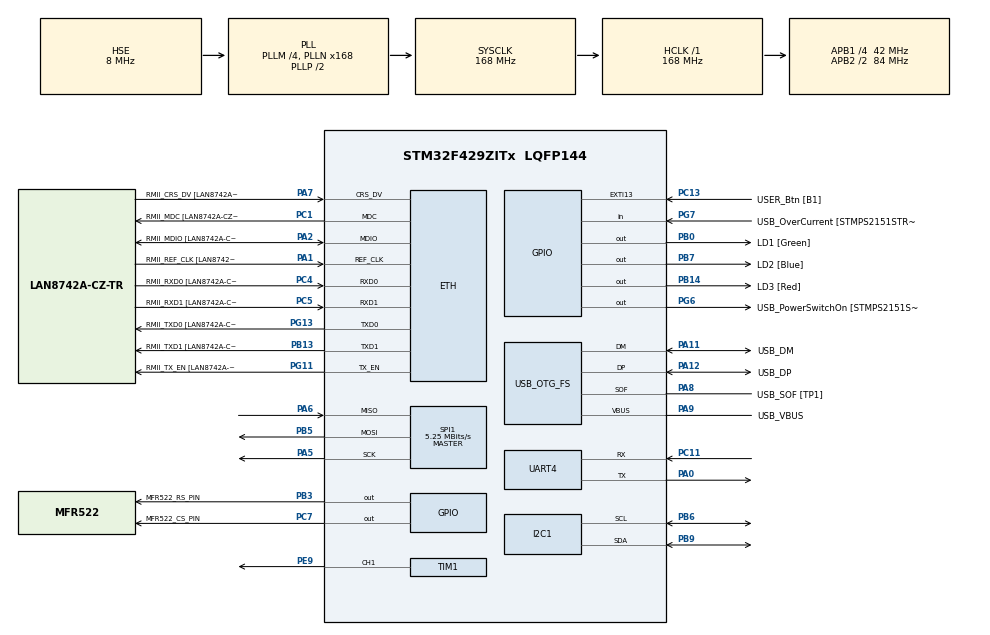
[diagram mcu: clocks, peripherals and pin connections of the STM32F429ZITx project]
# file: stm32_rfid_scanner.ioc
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Dma.Request0=TIM1_CH1
Dma.Request1=UART4_TX
Dma.Request2=UART4_RX
Dma.TIM1_CH1.0.Direction=DMA_MEMORY_TO_PERIPH
Dma.TIM1_CH1.0.FIFOMode=DMA_FIFOMODE_DISABLE
Dma.TIM1_CH1.0.Instance=DMA2_Stream1
Dma.TIM1_CH1.0.MemDataAlignment=DMA_MDATAALIGN_HALFWORD
Dma.TIM1_CH1.0.MemInc=DMA_MINC_ENABLE
Dma.TIM1_CH1.0.Mode=DMA_CIRCULAR
Dma.TIM1_CH1.0.PeriphDataAlignment=DMA_PDATAALIGN_HALFWORD
Dma.TIM1_CH1.0.PeriphInc=DMA_PINC_DISABLE
Dma.TIM1_CH1.0.Priority=DMA_PRIORITY_LOW
Dma.UART4_RX.2.Direction=DMA_PERIPH_TO_MEMORY
Dma.UART4_RX.2.FIFOMode=DMA_FIFOMODE_DISABLE
Dma.UART4_RX.2.Instance=DMA1_Stream2
Dma.UART4_RX.2.MemDataAlignment=DMA_MDATAALIGN_BYTE
Dma.UART4_RX.2.MemInc=DMA_MINC_ENABLE
Dma.UART4_RX.2.Mode=DMA_CIRCULAR
Dma.UART4_RX.2.PeriphDataAlignment=DMA_PDATAALIGN_BYTE
Dma.UART4_RX.2.PeriphInc=DMA_PINC_DISABLE
Dma.UART4_RX.2.Priority=DMA_PRIORITY_LOW
Dma.UART4_TX.1.Direction=DMA_MEMORY_TO_PERIPH
Dma.UART4_TX.1.FIFOMode=DMA_FIFOMODE_DISABLE
Dma.UART4_TX.1.Instance=DMA1_Stream4
Dma.UART4_TX.1.MemDataAlignment=DMA_MDATAALIGN_BYTE
Dma.UART4_TX.1.MemInc=DMA_MINC_ENABLE
Dma.UART4_TX.1.Mode=DMA_NORMAL
Dma.UART4_TX.1.PeriphDataAlignment=DMA_PDATAALIGN_BYTE
Dma.UART4_TX.1.PeriphInc=DMA_PINC_DISABLE
Dma.UART4_TX.1.Priority=DMA_PRIORITY_LOW
ETH.MediaInterface=HAL_ETH_RMII_MODE
ETH.PHY_Name=LAN8742A_PHY_ADDRESS
ETH.PHY_Value=0
ETH.PhyAddress=0
ETH.RxMode=ETH_RXINTERRUPT_MODE
FREERTOS.Tasks01=defaultTask,24,128,StartDefaultTask,Default,NULL,Dynamic,NULL,NULL
FREERTOS.configUSE_NEWLIB_REENTRANT=1
I2C1.I2C_Mode=I2C_Fast
LWIP.BSP.number=1
LWIP.Version=v2.1.2_Cube
LWIP0.BSP.STBoard=false
LWIP0.BSP.api=BSP_COMPONENT_DRIVER
LWIP0.BSP.component=LAN8742
LWIP0.BSP.instance=LAN8742
LWIP0.BSP.name=Driver_PHY
LWIP0.BSP.semaphore=S_LAN8742
LWIP0.BSP.solution=LAN8742
Mcu.Family=STM32F4
Mcu.Name=STM32F429ZITx
Mcu.Package=LQFP144
NVIC.DMA1_Stream2_IRQn=true\:5\:0\:false\:false\:true\:true\:false\:true\:true
NVIC.DMA1_Stream4_IRQn=true\:5\:0\:false\:false\:true\:true\:false\:true\:true
NVIC.DMA2_Stream1_IRQn=true\:5\:0\:false\:false\:true\:true\:false\:true\:true
NVIC.ETH_IRQn=true\:5\:0\:false\:false\:true\:true\:false\:true\:true
NVIC.EXTI15_10_IRQn=true\:5\:0\:false\:false\:true\:true\:true\:true\:true
NVIC.PriorityGroup=NVIC_PRIORITYGROUP_4
NVIC.TIM2_IRQn=true\:15\:0\:false\:false\:true\:false\:false\:true\:true
NVIC.TIM6_DAC_IRQn=true\:5\:0\:false\:false\:true\:true\:true\:true\:true
NVIC.TimeBase=TIM2_IRQn
NVIC.TimeBaseIP=TIM2
NVIC.UART4_IRQn=true\:5\:0\:false\:false\:true\:true\:true\:true\:true
PA0/WKUP.Mode=Asynchronous
PA0/WKUP.Signal=UART4_TX
PA1.GPIO_Label=RMII_REF_CLK [LAN8742A-CZ-TR_REFCLK0]
PA1.Mode=RMII
PA1.Signal=ETH_REF_CLK
PA10.GPIO_Label=USB_ID
PA10.Signal=USB_OTG_FS_ID
PA11.GPIO_Label=USB_DM
PA11.Mode=Device_Only
PA11.Signal=USB_OTG_FS_DM
PA12.GPIO_Label=USB_DP
PA12.Mode=Device_Only
PA12.Signal=USB_OTG_FS_DP
PA13.GPIO_Label=TMS
PA13.Mode=Serial_Wire
PA13.Signal=SYS_JTMS-SWDIO
PA14.GPIO_Label=TCK
PA14.Mode=Serial_Wire
PA14.Signal=SYS_JTCK-SWCLK
PA2.GPIO_Label=RMII_MDIO [LAN8742A-CZ-TR_MDIO]
PA2.Mode=RMII
PA2.Signal=ETH_MDIO
PA5.Mode=Full_Duplex_Master
PA5.Signal=SPI1_SCK
PA6.Mode=Full_Duplex_Master
PA6.Signal=SPI1_MISO
PA7.GPIO_Label=RMII_CRS_DV [LAN8742A-CZ-TR_CRS_DV]
PA7.Mode=RMII
PA7.Signal=ETH_CRS_DV
PA8.GPIO_Label=USB_SOF [TP1]
PA8.Mode=Activate_SOF_FS
PA8.Signal=USB_OTG_FS_SOF
PA9.GPIO_Label=USB_VBUS
PA9.Mode=Activate_VBUS
PA9.Signal=USB_OTG_FS_VBUS
PB0.GPIO_Label=LD1 [Green]
PB0.Signal=GPIO_Output
PB13.GPIO_Label=RMII_TXD1 [LAN8742A-CZ-TR_TXD1]
PB13.Mode=RMII
PB13.Signal=ETH_TXD1
PB14.GPIO_Label=LD3 [Red]
PB14.Signal=GPIO_Output
PB3.GPIO_Label=MFR522_RS_PIN
PB3.Signal=GPIO_Output
PB5.Mode=Full_Duplex_Master
PB5.Signal=SPI1_MOSI
PB6.Mode=I2C
PB6.Signal=I2C1_SCL
PB7.GPIO_Label=LD2 [Blue]
PB7.Signal=GPIO_Output
PB9.Mode=I2C
PB9.Signal=I2C1_SDA
PC1.GPIO_Label=RMII_MDC [LAN8742A-CZ-TR_MDC]
PC1.Mode=RMII
PC1.Signal=ETH_MDC
PC11.Mode=Asynchronous
PC11.Signal=UART4_RX
PC13.GPIO_Label=USER_Btn [B1]
PC13.Signal=GPXTI13
PC14/OSC32_IN.Mode=LSE-External-Oscillator
PC14/OSC32_IN.Signal=RCC_OSC32_IN
PC15/OSC32_OUT.Mode=LSE-External-Oscillator
PC15/OSC32_OUT.Signal=RCC_OSC32_OUT
PC4.GPIO_Label=RMII_RXD0 [LAN8742A-CZ-TR_RXD0]
PC4.Mode=RMII
PC4.Signal=ETH_RXD0
PC5.GPIO_Label=RMII_RXD1 [LAN8742A-CZ-TR_RXD1]
PC5.Mode=RMII
PC5.Signal=ETH_RXD1
PC7.GPIO_Label=MFR522_CS_PIN
PC7.Signal=GPIO_Output
PD8.GPIO_Label=STLK_RX [STM32F103CBT6_PA3]
PD8.Signal=USART3_TX
PD9.GPIO_Label=STLK_TX [STM32F103CBT6_PA2]
PD9.Signal=USART3_RX
PE9.Signal=S_TIM1_CH1
PG11.GPIO_Label=RMII_TX_EN [LAN8742A-CZ-TR_TXEN]
PG11.Mode=RMII
PG11.Signal=ETH_TX_EN
PG13.GPIO_Label=RMII_TXD0 [LAN8742A-CZ-TR_TXD0]
PG13.Mode=RMII
PG13.Signal=ETH_TXD0
PG6.GPIO_Label=USB_PowerSwitchOn [STMPS2151STR_EN]
PG6.Signal=GPIO_Output
PG7.GPIO_Label=USB_OverCurrent [STMPS2151STR_FAULT]
PG7.Signal=GPIO_Input
PH0/OSC_IN.GPIO_Label=MCO [STM32F103CBT6_PA8]
PH0/OSC_IN.Mode=HSE-External-Oscillator
PH0/OSC_IN.Signal=RCC_OSC_IN
PH1/OSC_OUT.Mode=HSE-External-Oscillator
PH1/OSC_OUT.Signal=RCC_OSC_OUT
ProjectManager.HeapSize=0x200
ProjectManager.StackSize=0x400
ProjectManager.TargetToolchain=STM32CubeIDE
RCC.48MHZClocksFreq_Value=48000000
RCC.AHBFreq_Value=168000000
RCC.APB1CLKDivider=RCC_HCLK_DIV4
RCC.APB1Freq_Value=42000000
RCC.APB1TimFreq_Value=84000000
RCC.APB2CLKDivider=RCC_HCLK_DIV2
RCC.APB2Freq_Value=84000000
RCC.APB2TimFreq_Value=168000000
RCC.CortexFreq_Value=168000000
RCC.HCLKFreq_Value=168000000
RCC.HSE_VALUE=8000000
RCC.HSI_VALUE=16000000
RCC.PLLM=4
RCC.PLLMUL=RCC_PLL_MUL9
RCC.PLLN=168
RCC.PLLQ=7
RCC.PRESCALERUSB=RCC_USBCLKSOURCE_PLL_DIV1_5
RCC.SYSCLKFreq_VALUE=168000000
RCC.SYSCLKSource=RCC_SYSCLKSOURCE_PLLCLK
RCC.SYSCLKSourceVirtual=RCC_SYSCLKSOURCE_PLLCLK
RCC.USBFreq_Value=48000000
RCC.VCOOutputFreq_Value=336000000
SH.S_TIM1_CH1.0=TIM1_CH1,PWM Generation1 CH1
SPI1.BaudRatePrescaler=SPI_BAUDRATEPRESCALER_16
SPI1.CalculateBaudRate=5.25 MBits/s
SPI1.Direction=SPI_DIRECTION_2LINES
SPI1.Mode=SPI_MODE_MASTER
SPI1.VirtualType=VM_MASTER
TIM1.Channel-PWM\ Generation1\ CH1=TIM_CHANNEL_1
TIM1.Period=10000-1
TIM1.Prescaler=16800-1
TIM6.AutoReloadPreload=TIM_AUTORELOAD_PRELOAD_ENABLE
TIM6.Period=5000
TIM6.Prescaler=8400-1
UART4.VirtualMode=Asynchronous
USB_OTG_FS.VirtualMode=Device_Only
VP_FREERTOS_VS_CMSIS_V2.Mode=CMSIS_V2
VP_LWIP_VS_Enabled.Mode=Enabled
VP_RNG_VS_RNG.Mode=RNG_Activate
VP_SYS_VS_tim2.Mode=TIM2
VP_TIM1_VS_ClockSourceINT.Mode=Internal
VP_TIM6_VS_ClockSourceINT.Mode=Enable_Timer
board=NUCLEO-F429ZI

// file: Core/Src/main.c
/* USER CODE BEGIN Header */
/**
  ******************************************************************************
  * @file           : main.c
  * @brief          : Main program body
  ******************************************************************************
  * @attention
  *
  * Copyright (c) 2023 STMicroelectronics.
  * All rights reserved.
  *
  * This software is licensed under terms that can be found in the LICENSE file
  * in the root directory of this software component.
  * If no LICENSE file comes with this software, it is provided AS-IS.
  *
  ******************************************************************************
  */
/* USER CODE END Header */
#include "main.h"
#include "cmsis_os.h"
#include "lwip.h"

/* USER CODE BEGIN Includes */
#include "stdbool.h"
#include "MFRC522.h"
#include "rfid.h"
#include "SEGGER_RTT.h"
#include "iot_connect.h"
#include "queue.h"
/* USER CODE END Includes */

I2C_HandleTypeDef hi2c1;

RNG_HandleTypeDef hrng;

SPI_HandleTypeDef hspi1;

TIM_HandleTypeDef htim1;
TIM_HandleTypeDef htim6;
DMA_HandleTypeDef hdma_tim1_ch1;

UART_HandleTypeDef huart4;
DMA_HandleTypeDef hdma_uart4_tx;
DMA_HandleTypeDef hdma_uart4_rx;

PCD_HandleTypeDef hpcd_USB_OTG_FS;

/* Definitions for defaultTask */
osThreadId_t defaultTaskHandle;
const osThreadAttr_t defaultTask_attributes = {
  .name = "defaultTask",
  .stack_size = 4096,
  .priority = (osPriority_t) osPriorityNormal,
};
/* USER CODE BEGIN PV */

/*********Create thread**********/
osThreadId_t receiveTaskHandle;
osThreadId_t RFIDTaskHandle;
osThreadId_t LWIPTaskHandle;
osThreadId_t LEDTaskHandle;
//osThreadId_t LedTaskHandle;
/**************Sendtask******************/

const osThreadAttr_t receiveTask_attributes = {
  .name = "receiveTask",
  .stack_size = 2048,
  .priority = (osPriority_t) osPriorityNormal,
};

const osThreadAttr_t RFIDTask_attributes = {
  .name = "RFIDTask",
  .stack_size = 512 * 4,
  .priority = (osPriority_t) osPriorityNormal,
};

const osThreadAttr_t LWIPTask_attributes = {
  .name = "LWIPTask",
  .stack_size = 4096,
  .priority = (osPriority_t) osPriorityNormal,
};

const osThreadAttr_t LEDTask_attributes = {
  .name = "LEDTask",
  .stack_size = 2048,
  .priority = (osPriority_t) osPriorityNormal,
};

QueueHandle_t   RFIDdataQueue;
QueueHandle_t	ledStatusQueue;
extern struct netif gnetif;

/* USER CODE END PV */

void SystemClock_Config(void);
static void MX_GPIO_Init(void);
static void MX_DMA_Init(void);
static void MX_USB_OTG_FS_PCD_Init(void);
static void MX_TIM6_Init(void);
static void MX_TIM1_Init(void);
static void MX_SPI1_Init(void);
static void MX_I2C1_Init(void);
static void MX_UART4_Init(void);
static void MX_RNG_Init(void);
void StartDefaultTask(void *argument);

/* USER CODE BEGIN PFP */
//void myFirstTaskHandle(void *argument);
MFRC rfidReader;
/* USER CODE END PFP */

/* USER CODE BEGIN 0 */

void Receiver_cardinfor_task (void *argument);
void ledStatus_Task (void *argument);
/* USER CODE END 0 */

int main(void)
{

  /* MCU Configuration--------------------------------------------------------*/

  /* Reset of all peripherals, Initializes the Flash interface and the Systick. */
   HAL_Init();

  /* Configure the system clock */
  SystemClock_Config();

  /* Initialize all configured peripherals */
  MX_GPIO_Init();
  MX_DMA_Init();
  MX_USB_OTG_FS_PCD_Init();
  MX_TIM6_Init();
  MX_TIM1_Init();
  MX_SPI1_Init();
  MX_I2C1_Init();
  MX_UART4_Init();
  MX_RNG_Init();
  /* USER CODE BEGIN 2 */

	rfidReader.hspi = &hspi1;
	MFRC522_Init(&rfidReader, GPIO_PIN_7, GPIOC, GPIO_PIN_3, GPIOB);

	HAL_GPIO_WritePin(GPIOB,GPIO_PIN_0, GPIO_PIN_SET);// Bật đèn xanh
	vTaskDelay(1000);
	HAL_GPIO_WritePin(GPIOB,GPIO_PIN_0, GPIO_PIN_RESET);// Tắt đèn xanh
  /* USER CODE END 2 */

  /* Init scheduler */
  osKernelInitialize();

  /* USER CODE BEGIN RTOS_QUEUES */
	/* add queues, ... */
	/*************Create Queue***************/

	RFIDdataQueue = xQueueCreate(10, sizeof(data_rfid));
	if (RFIDdataQueue == 0) {
		SEGGER_RTT_printf(0, "\nQueue is not created \n");
		while (1);
	} else {
		SEGGER_RTT_printf(0, "Queue is successfully created \n");
	}
	/******************Task related**********/

	/*************Create Queue for Led_status task***************/

	ledStatusQueue = xQueueCreate(10, sizeof(int));
	if (ledStatusQueue == 0)
	{
		SEGGER_RTT_printf(0, "\nQueue for led is not created \n");
		while (1);
	}
	else {
		SEGGER_RTT_printf(0, "Queue for led is successfully created \n");
	}
	/******************Task related**********/

  /* USER CODE END RTOS_QUEUES */

  /* Create the thread(s) */
  /* creation of defaultTask */
//  defaultTaskHandle = osThreadNew(StartDefaultTask, NULL, &defaultTask_attributes);

  /* USER CODE BEGIN RTOS_THREADS */
	/* add threads, ... */

//	receiveTaskHandle = osThreadNew(Receiver_cardinfor_task, NULL, &receiveTask_attributes);
	RFIDTaskHandle = osThreadNew(RFIDTask, NULL, &RFIDTask_attributes);
	LWIPTaskHandle = osThreadNew(LWIPTask, NULL, &LWIPTask_attributes);
	LEDTaskHandle = osThreadNew(ledStatus_Task, NULL, &LEDTask_attributes);

  /* USER CODE END RTOS_THREADS */

  /* Start scheduler */
  osKernelStart();

  /* We should never get here as control is now taken by the scheduler */
  /* Infinite loop */
  /* USER CODE BEGIN WHILE */
	while (1) {

		if (PICC_IsNewCardPresent(&rfidReader) == false) {
			SEGGER_RTT_printf(0, "\r\nCard not found!!!!!\r\n");
			HAL_Delay(3000);
			continue;

		}
		SEGGER_RTT_printf(0, "\r\nCard found!!!!!\r\n");

		if (PICC_ReadCardSerial(&rfidReader) == true) {
			//PICC_DumpToSerial(&rfidReader, &rfidReader.uid);
		}

		HAL_Delay(1000);

    /* USER CODE END WHILE */

	}
}

void SystemClock_Config(void)
{
  RCC_OscInitTypeDef RCC_OscInitStruct = {0};
  RCC_ClkInitTypeDef RCC_ClkInitStruct = {0};

  /** Configure the main internal regulator output voltage
  */
  __HAL_RCC_PWR_CLK_ENABLE();
  __HAL_PWR_VOLTAGESCALING_CONFIG(PWR_REGULATOR_VOLTAGE_SCALE1);

  /** Initializes the RCC Oscillators according to the specified parameters
  * in the RCC_OscInitTypeDef structure.
  */
  RCC_OscInitStruct.OscillatorType = RCC_OSCILLATORTYPE_HSE;
  RCC_OscInitStruct.HSEState = RCC_HSE_ON;
  RCC_OscInitStruct.PLL.PLLState = RCC_PLL_ON;
  RCC_OscInitStruct.PLL.PLLSource = RCC_PLLSOURCE_HSE;
  RCC_OscInitStruct.PLL.PLLM = 4;
  RCC_OscInitStruct.PLL.PLLN = 168;
  RCC_OscInitStruct.PLL.PLLP = RCC_PLLP_DIV2;
  RCC_OscInitStruct.PLL.PLLQ = 7;
  if (HAL_RCC_OscConfig(&RCC_OscInitStruct) != HAL_OK)
  {
    Error_Handler();
  }

  /** Initializes the CPU, AHB and APB buses clocks
  */
  RCC_ClkInitStruct.ClockType = RCC_CLOCKTYPE_HCLK|RCC_CLOCKTYPE_SYSCLK
                              |RCC_CLOCKTYPE_PCLK1|RCC_CLOCKTYPE_PCLK2;
  RCC_ClkInitStruct.SYSCLKSource = RCC_SYSCLKSOURCE_PLLCLK;
  RCC_ClkInitStruct.AHBCLKDivider = RCC_SYSCLK_DIV1;
  RCC_ClkInitStruct.APB1CLKDivider = RCC_HCLK_DIV4;
  RCC_ClkInitStruct.APB2CLKDivider = RCC_HCLK_DIV2;

  if (HAL_RCC_ClockConfig(&RCC_ClkInitStruct, FLASH_LATENCY_5) != HAL_OK)
  {
    Error_Handler();
  }
}

static void MX_I2C1_Init(void)
{

  hi2c1.Instance = I2C1;
  hi2c1.Init.ClockSpeed = 400000;
  hi2c1.Init.DutyCycle = I2C_DUTYCYCLE_2;
  hi2c1.Init.OwnAddress1 = 0;
  hi2c1.Init.AddressingMode = I2C_ADDRESSINGMODE_7BIT;
  hi2c1.Init.DualAddressMode = I2C_DUALADDRESS_DISABLE;
  hi2c1.Init.OwnAddress2 = 0;
  hi2c1.Init.GeneralCallMode = I2C_GENERALCALL_DISABLE;
  hi2c1.Init.NoStretchMode = I2C_NOSTRETCH_DISABLE;
  if (HAL_I2C_Init(&hi2c1) != HAL_OK)
  {
    Error_Handler();
  }

  /** Configure Analogue filter
  */
  if (HAL_I2CEx_ConfigAnalogFilter(&hi2c1, I2C_ANALOGFILTER_ENABLE) != HAL_OK)
  {
    Error_Handler();
  }

  /** Configure Digital filter
  */
  if (HAL_I2CEx_ConfigDigitalFilter(&hi2c1, 0) != HAL_OK)
  {
    Error_Handler();
  }

}

static void MX_RNG_Init(void)
{

  hrng.Instance = RNG;
  if (HAL_RNG_Init(&hrng) != HAL_OK)
  {
    Error_Handler();
  }

}

static void MX_SPI1_Init(void)
{

  /* SPI1 parameter configuration*/
  hspi1.Instance = SPI1;
  hspi1.Init.Mode = SPI_MODE_MASTER;
  hspi1.Init.Direction = SPI_DIRECTION_2LINES;
  hspi1.Init.DataSize = SPI_DATASIZE_8BIT;
  hspi1.Init.CLKPolarity = SPI_POLARITY_LOW;
  hspi1.Init.CLKPhase = SPI_PHASE_1EDGE;
  hspi1.Init.NSS = SPI_NSS_SOFT;
  hspi1.Init.BaudRatePrescaler = SPI_BAUDRATEPRESCALER_16;
  hspi1.Init.FirstBit = SPI_FIRSTBIT_MSB;
  hspi1.Init.TIMode = SPI_TIMODE_DISABLE;
  hspi1.Init.CRCCalculation = SPI_CRCCALCULATION_DISABLE;
  hspi1.Init.CRCPolynomial = 10;
  if (HAL_SPI_Init(&hspi1) != HAL_OK)
  {
    Error_Handler();
  }

}

static void MX_TIM1_Init(void)
{

  TIM_ClockConfigTypeDef sClockSourceConfig = {0};
  TIM_MasterConfigTypeDef sMasterConfig = {0};
  TIM_OC_InitTypeDef sConfigOC = {0};
  TIM_BreakDeadTimeConfigTypeDef sBreakDeadTimeConfig = {0};

  htim1.Instance = TIM1;
  htim1.Init.Prescaler = 16800-1;
  htim1.Init.CounterMode = TIM_COUNTERMODE_UP;
  htim1.Init.Period = 10000-1;
  htim1.Init.ClockDivision = TIM_CLOCKDIVISION_DIV1;
  htim1.Init.RepetitionCounter = 0;
  htim1.Init.AutoReloadPreload = TIM_AUTORELOAD_PRELOAD_DISABLE;
  if (HAL_TIM_Base_Init(&htim1) != HAL_OK)
  {
    Error_Handler();
  }
  sClockSourceConfig.ClockSource = TIM_CLOCKSOURCE_INTERNAL;
  if (HAL_TIM_ConfigClockSource(&htim1, &sClockSourceConfig) != HAL_OK)
  {
    Error_Handler();
  }
  if (HAL_TIM_PWM_Init(&htim1) != HAL_OK)
  {
    Error_Handler();
  }
  sMasterConfig.MasterOutputTrigger = TIM_TRGO_RESET;
  sMasterConfig.MasterSlaveMode = TIM_MASTERSLAVEMODE_DISABLE;
  if (HAL_TIMEx_MasterConfigSynchronization(&htim1, &sMasterConfig) != HAL_OK)
  {
    Error_Handler();
  }
  sConfigOC.OCMode = TIM_OCMODE_PWM1;
  sConfigOC.Pulse = 0;
  sConfigOC.OCPolarity = TIM_OCPOLARITY_HIGH;
  sConfigOC.OCNPolarity = TIM_OCNPOLARITY_HIGH;
  sConfigOC.OCFastMode = TIM_OCFAST_DISABLE;
  sConfigOC.OCIdleState = TIM_OCIDLESTATE_RESET;
  sConfigOC.OCNIdleState = TIM_OCNIDLESTATE_RESET;
  if (HAL_TIM_PWM_ConfigChannel(&htim1, &sConfigOC, TIM_CHANNEL_1) != HAL_OK)
  {
    Error_Handler();
  }
  sBreakDeadTimeConfig.OffStateRunMode = TIM_OSSR_DISABLE;
  sBreakDeadTimeConfig.OffStateIDLEMode = TIM_OSSI_DISABLE;
  sBreakDeadTimeConfig.LockLevel = TIM_LOCKLEVEL_OFF;
  sBreakDeadTimeConfig.DeadTime = 0;
  sBreakDeadTimeConfig.BreakState = TIM_BREAK_DISABLE;
  sBreakDeadTimeConfig.BreakPolarity = TIM_BREAKPOLARITY_HIGH;
  sBreakDeadTimeConfig.AutomaticOutput = TIM_AUTOMATICOUTPUT_DISABLE;
  if (HAL_TIMEx_ConfigBreakDeadTime(&htim1, &sBreakDeadTimeConfig) != HAL_OK)
  {
    Error_Handler();
  }
  HAL_TIM_MspPostInit(&htim1);

}

static void MX_TIM6_Init(void)
{

  TIM_MasterConfigTypeDef sMasterConfig = {0};

  htim6.Instance = TIM6;
  htim6.Init.Prescaler = 8400-1;
  htim6.Init.CounterMode = TIM_COUNTERMODE_UP;
  htim6.Init.Period = 5000;
  htim6.Init.AutoReloadPreload = TIM_AUTORELOAD_PRELOAD_ENABLE;
  if (HAL_TIM_Base_Init(&htim6) != HAL_OK)
  {
    Error_Handler();
  }
  sMasterConfig.MasterOutputTrigger = TIM_TRGO_RESET;
  sMasterConfig.MasterSlaveMode = TIM_MASTERSLAVEMODE_DISABLE;
  if (HAL_TIMEx_MasterConfigSynchronization(&htim6, &sMasterConfig) != HAL_OK)
  {
    Error_Handler();
  }

}

static void MX_UART4_Init(void)
{

  huart4.Instance = UART4;
  huart4.Init.BaudRate = 115200;
  huart4.Init.WordLength = UART_WORDLENGTH_8B;
  huart4.Init.StopBits = UART_STOPBITS_1;
  huart4.Init.Parity = UART_PARITY_NONE;
  huart4.Init.Mode = UART_MODE_TX_RX;
  huart4.Init.HwFlowCtl = UART_HWCONTROL_NONE;
  huart4.Init.OverSampling = UART_OVERSAMPLING_16;
  if (HAL_UART_Init(&huart4) != HAL_OK)
  {
    Error_Handler();
  }

}

static void MX_USB_OTG_FS_PCD_Init(void)
{

  hpcd_USB_OTG_FS.Instance = USB_OTG_FS;
  hpcd_USB_OTG_FS.Init.dev_endpoints = 4;
  hpcd_USB_OTG_FS.Init.speed = PCD_SPEED_FULL;
  hpcd_USB_OTG_FS.Init.dma_enable = DISABLE;
  hpcd_USB_OTG_FS.Init.phy_itface = PCD_PHY_EMBEDDED;
  hpcd_USB_OTG_FS.Init.Sof_enable = ENABLE;
  hpcd_USB_OTG_FS.Init.low_power_enable = DISABLE;
  hpcd_USB_OTG_FS.Init.lpm_enable = DISABLE;
  hpcd_USB_OTG_FS.Init.vbus_sensing_enable = ENABLE;
  hpcd_USB_OTG_FS.Init.use_dedicated_ep1 = DISABLE;
  if (HAL_PCD_Init(&hpcd_USB_OTG_FS) != HAL_OK)
  {
    Error_Handler();
  }

}

static void MX_DMA_Init(void)
{

  /* DMA controller clock enable */
  __HAL_RCC_DMA2_CLK_ENABLE();
  __HAL_RCC_DMA1_CLK_ENABLE();

  /* DMA interrupt init */
  /* DMA1_Stream2_IRQn interrupt configuration */
  HAL_NVIC_SetPriority(DMA1_Stream2_IRQn, 5, 0);
  HAL_NVIC_EnableIRQ(DMA1_Stream2_IRQn);
  /* DMA1_Stream4_IRQn interrupt configuration */
  HAL_NVIC_SetPriority(DMA1_Stream4_IRQn, 5, 0);
  HAL_NVIC_EnableIRQ(DMA1_Stream4_IRQn);
  /* DMA2_Stream1_IRQn interrupt configuration */
  HAL_NVIC_SetPriority(DMA2_Stream1_IRQn, 5, 0);
  HAL_NVIC_EnableIRQ(DMA2_Stream1_IRQn);

}

static void MX_GPIO_Init(void)
{
  GPIO_InitTypeDef GPIO_InitStruct = {0};

  /* GPIO Ports Clock Enable */
  __HAL_RCC_GPIOC_CLK_ENABLE();
  __HAL_RCC_GPIOH_CLK_ENABLE();
  __HAL_RCC_GPIOA_CLK_ENABLE();
  __HAL_RCC_GPIOB_CLK_ENABLE();
  __HAL_RCC_GPIOE_CLK_ENABLE();
  __HAL_RCC_GPIOD_CLK_ENABLE();
  __HAL_RCC_GPIOG_CLK_ENABLE();

  /*Configure GPIO pin Output Level */
  HAL_GPIO_WritePin(GPIOB, LD1_Pin|LD3_Pin|MFR522_RS_PIN_Pin|LD2_Pin, GPIO_PIN_RESET);

  /*Configure GPIO pin Output Level */
  HAL_GPIO_WritePin(USB_PowerSwitchOn_GPIO_Port, USB_PowerSwitchOn_Pin, GPIO_PIN_RESET);

  /*Configure GPIO pin Output Level */
  HAL_GPIO_WritePin(MFR522_CS_PIN_GPIO_Port, MFR522_CS_PIN_Pin, GPIO_PIN_RESET);

  /*Configure GPIO pin : USER_Btn_Pin */
  GPIO_InitStruct.Pin = USER_Btn_Pin;
  GPIO_InitStruct.Mode = GPIO_MODE_IT_RISING;
  GPIO_InitStruct.Pull = GPIO_NOPULL;
  HAL_GPIO_Init(USER_Btn_GPIO_Port, &GPIO_InitStruct);

  /*Configure GPIO pins : LD1_Pin LD3_Pin MFR522_RS_PIN_Pin LD2_Pin */
  GPIO_InitStruct.Pin = LD1_Pin|LD3_Pin|MFR522_RS_PIN_Pin|LD2_Pin;
  GPIO_InitStruct.Mode = GPIO_MODE_OUTPUT_PP;
  GPIO_InitStruct.Pull = GPIO_NOPULL;
  GPIO_InitStruct.Speed = GPIO_SPEED_FREQ_LOW;
  HAL_GPIO_Init(GPIOB, &GPIO_InitStruct);

  /*Configure GPIO pins : STLK_RX_Pin STLK_TX_Pin */
  GPIO_InitStruct.Pin = STLK_RX_Pin|STLK_TX_Pin;
  GPIO_InitStruct.Mode = GPIO_MODE_AF_PP;
  GPIO_InitStruct.Pull = GPIO_NOPULL;
  GPIO_InitStruct.Speed = GPIO_SPEED_FREQ_VERY_HIGH;
  GPIO_InitStruct.Alternate = GPIO_AF7_USART3;
  HAL_GPIO_Init(GPIOD, &GPIO_InitStruct);

  /*Configure GPIO pin : USB_PowerSwitchOn_Pin */
  GPIO_InitStruct.Pin = USB_PowerSwitchOn_Pin;
  GPIO_InitStruct.Mode = GPIO_MODE_OUTPUT_PP;
  GPIO_InitStruct.Pull = GPIO_NOPULL;
  GPIO_InitStruct.Speed = GPIO_SPEED_FREQ_LOW;
  HAL_GPIO_Init(USB_PowerSwitchOn_GPIO_Port, &GPIO_InitStruct);

  /*Configure GPIO pin : USB_OverCurrent_Pin */
  GPIO_InitStruct.Pin = USB_OverCurrent_Pin;
  GPIO_InitStruct.Mode = GPIO_MODE_INPUT;
  GPIO_InitStruct.Pull = GPIO_NOPULL;
  HAL_GPIO_Init(USB_OverCurrent_GPIO_Port, &GPIO_InitStruct);

  /*Configure GPIO pin : MFR522_CS_PIN_Pin */
  GPIO_InitStruct.Pin = MFR522_CS_PIN_Pin;
  GPIO_InitStruct.Mode = GPIO_MODE_OUTPUT_PP;
  GPIO_InitStruct.Pull = GPIO_NOPULL;
  GPIO_InitStruct.Speed = GPIO_SPEED_FREQ_LOW;
  HAL_GPIO_Init(MFR522_CS_PIN_GPIO_Port, &GPIO_InitStruct);

  /* EXTI interrupt init*/
  HAL_NVIC_SetPriority(EXTI15_10_IRQn, 5, 0);
  HAL_NVIC_EnableIRQ(EXTI15_10_IRQn);

}

/* USER CODE BEGIN 4 */
void HAL_GPIO_EXTI_Callback(uint16_t GPIO_Pin)
{
	UNUSED(GPIO_Pin);
}
// Concurrent programming...
void Receiver_cardinfor_task (void *argument)
{
	data_rfid rcvData;
//	char payload[256];
	while (1)
	{
		if (xQueueReceive(RFIDdataQueue, &rcvData, portMAX_DELAY) == pdPASS)
		{
			SEGGER_RTT_printf(0, "Receive card information task\r\n");
			SEGGER_RTT_printf(0, "Age in queue: %d, Name in queue: %s,\r\n", rcvData.age, (char*)rcvData.Name);
			SEGGER_RTT_printf(0,"ID in queue:");
			for (uint8_t i = 0; i < 4; i++)
			{
				SEGGER_RTT_printf(0, rcvData.ID[i] < 0x10 ? " 0" : " ");
				SEGGER_RTT_printf(0, "%02X ",  rcvData.ID[i]);
			}
		}
		memset(&rcvData, 0u, sizeof(rcvData));
		vTaskDelay(100);

	}
}
void ledStatus_Task (void *argument)
{
	int received = 0;
	uint32_t TickDelay = pdMS_TO_TICKS(100);
	while (1)
	{	//SEGGER_RTT_printf(0, "Receive signal ledStatus task\r\n");
		if (xQueueReceive(ledStatusQueue, &received, portMAX_DELAY) == pdTRUE)
		{
			SEGGER_RTT_printf(0, "Receive signal ledStatus task\r\n");
			SEGGER_RTT_printf(0, "Signal received: %d.\r\n", received);
			if(received)
			{
				HAL_GPIO_WritePin(GPIOB,GPIO_PIN_0, GPIO_PIN_SET);// Bật đèn xanh
				vTaskDelay(1000);
				HAL_GPIO_WritePin(GPIOB,GPIO_PIN_0, GPIO_PIN_RESET);// Tắt đèn xanh
			}
			else
			{
				HAL_GPIO_WritePin(GPIOB,GPIO_PIN_14, GPIO_PIN_SET);// Bật đèn đỏ
				vTaskDelay(1000);
				HAL_GPIO_WritePin(GPIOB,GPIO_PIN_14, GPIO_PIN_RESET);// Tắt đèn đỏ
			}
		}
		vTaskDelay(TickDelay);
	}
}

  /* USER CODE END 5 */

/*void myFirstTaskHandle(void *argument)
{
	uint32_t counter = 0;
	SEGGER_RTT_printf(0, "Enter My First Task\r\n");
	while(1)
	{
		if(osMutexAcquire(myMtx2, 1000) == osOK){
			HAL_UART_Transmit(&huart4, myBuffer1,10, 100);
			data += 1;
			SEGGER_RTT_printf(0, "Mutex 2 taken in task 2\r\n");

			if(osMutexAcquire(myMtx, 1000000) == osOK)
			{
				SEGGER_RTT_printf(0, "Mutex 1 taken in task 2\r\n");
				HAL_Delay(5000);
				osMutexRelease(myMtx);
			}else{
				SEGGER_RTT_printf(0, "can't take mutex1 in task 2\r\n");

			}
			osMutexRelease(myMtx2);
		}else{
			SEGGER_RTT_printf(0, "can't take mutex 2 in task 2\r\n");

		}

		osDelay(500);
	}
}*/
/* USER CODE END 4 */

void StartDefaultTask(void *argument)
{
  /* init code for LWIP */
  MX_LWIP_Init();
  /* USER CODE BEGIN 5 */
  /* Infinite loop */
  while(1)
  {
	  //Waiting for valid ip address
	  if(gnetif.ip_addr.addr == 0 || gnetif.netmask.addr == 0 || gnetif.gw.addr == 0){
		  osDelay(200);
		  continue;
	  }else{

		  SEGGER_RTT_printf(0, "\r\n\nDHCP/Static IP: %s\r\n\n", ip4addr_ntoa(netif_ip4_addr(&gnetif)));
		  break;
	  }
  }
  while(1);
  /* USER CODE END 5 */
}

void HAL_TIM_PeriodElapsedCallback(TIM_HandleTypeDef *htim)
{
  if (htim->Instance == TIM2) {
    HAL_IncTick();
  }
}

void Error_Handler(void)
{
  __disable_irq();
  while (1)
  {
  }
}
